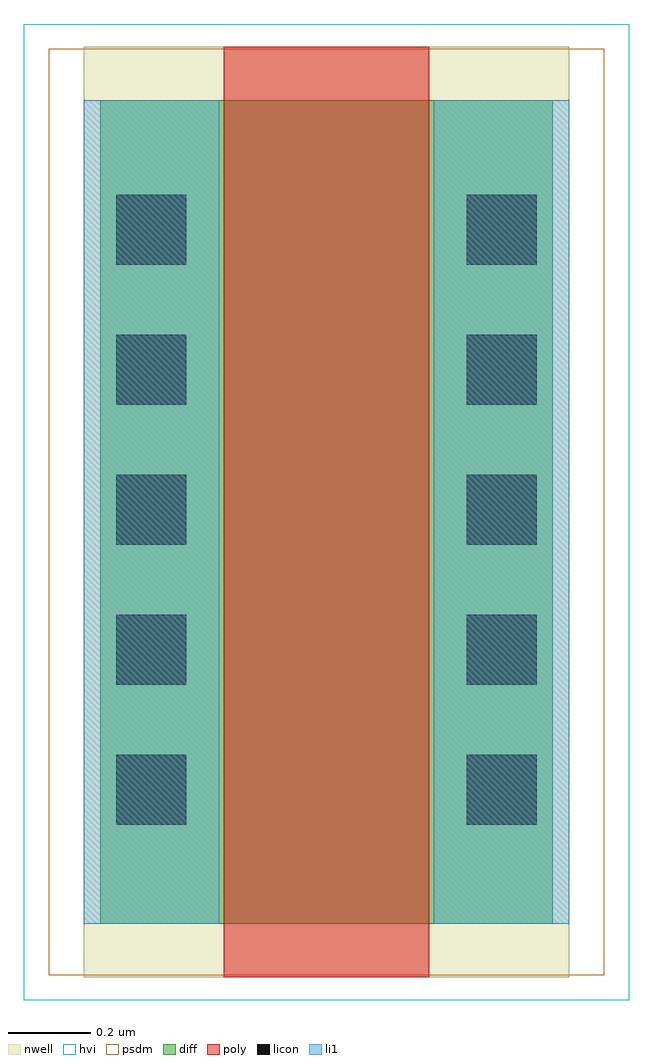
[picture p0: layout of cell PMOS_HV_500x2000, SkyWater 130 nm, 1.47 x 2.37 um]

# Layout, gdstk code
import gdstk
lib = gdstk.Library(unit=1e-6, precision=1e-09)
def R(c, l, rs):  # rectangles x0, y0, x1, y1
    for r in rs: c.add(gdstk.rectangle(r[:2], r[2:], *l))
def A(c, l, x, y, w, h, nx, ny, dx, dy):  # array of equal rectangles
    R(c, l, [(x+i*dx, y+j*dy, x+i*dx+w, y+j*dy+h) for i in range(nx) for j in range(ny)])
nwell = (64, 20)
diff = (65, 20)
poly = (66, 20)
licon = (66, 44)
li1 = (67, 20)
hvi = (75, 20)
psdm = (94, 20)

pmos_hv_500x2000 = lib.new_cell('PMOS_HV_500x2000')
R(pmos_hv_500x2000, nwell, [(-2.87,-0.21,-1.69,2.05)])
R(pmos_hv_500x2000, diff, [(-2.83,-0.08,-1.73,1.92)])
R(pmos_hv_500x2000, poly, [(-2.53,-0.21,-2.03,2.05)])
A(pmos_hv_500x2000, licon, -2.79, 0.16, 0.17, 0.17, 1, 5, 0, 0.34)
A(pmos_hv_500x2000, licon, -1.94, 0.16, 0.17, 0.17, 1, 5, 0, 0.34)
R(pmos_hv_500x2000, li1, [(-2.87,-0.08,-2.54,1.92), (-2.02,-0.08,-1.69,1.92)])
R(pmos_hv_500x2000, hvi, [(-3.015,-0.265,-1.545,2.105)])
R(pmos_hv_500x2000, psdm, [(-2.955,-0.205,-1.605,2.045)])

lib.write_gds('PMOS_HV_500x2000.gds')
